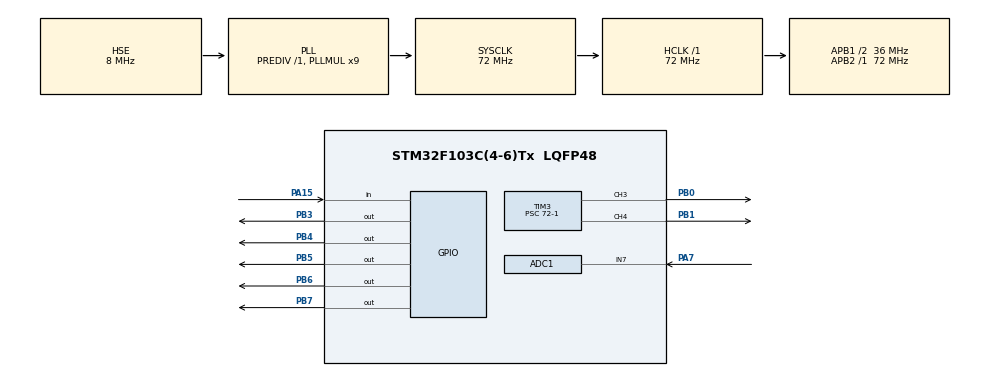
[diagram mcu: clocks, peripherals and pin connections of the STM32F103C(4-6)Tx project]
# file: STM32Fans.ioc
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ADC1.Channel-1\#ChannelRegularConversion=ADC_CHANNEL_7
ADC1.ContinuousConvMode=ENABLE
ADC1.NbrOfConversion=1
ADC1.NbrOfConversionFlag=1
ADC1.Rank-1\#ChannelRegularConversion=1
ADC1.SamplingTime-1\#ChannelRegularConversion=ADC_SAMPLETIME_239CYCLES_5
ADC1.master=1
FREERTOS.Tasks01=power,0,128,PowerTask,Default,NULL,Static,powerBuffer,powerControlBlock;display,-2,128,DisplayTask02,Default,NULL,Static,displayBuffer,displayControlBlock;gear,-2,128,GearTask03,Default,NULL,Static,gearBuffer,gearControlBlock;key,-2,128,KeyTask04,Default,NULL,Static,keyBuffer,keyControlBlock
Mcu.Family=STM32F1
Mcu.Name=STM32F103C(4-6)Tx
Mcu.Package=LQFP48
NVIC.PriorityGroup=NVIC_PRIORITYGROUP_4
NVIC.TIM1_UP_IRQn=true\:15\:0\:false\:false\:true\:false\:false\:true\:true
NVIC.TimeBase=TIM1_UP_IRQn
NVIC.TimeBaseIP=TIM1
PA13.Mode=Serial_Wire
PA13.Signal=SYS_JTMS-SWDIO
PA14.Mode=Serial_Wire
PA14.Signal=SYS_JTCK-SWCLK
PA15.Signal=GPIO_Input
PA7.Signal=SharedAnalog_PA7
PB0.Signal=S_TIM3_CH3
PB1.Signal=S_TIM3_CH4
PB3.Signal=GPIO_Output
PB4.Signal=GPIO_Output
PB5.Signal=GPIO_Output
PB6.Signal=GPIO_Output
PB7.Signal=GPIO_Output
PD0-OSC_IN.Mode=HSE-External-Oscillator
PD0-OSC_IN.Signal=RCC_OSC_IN
PD1-OSC_OUT.Mode=HSE-External-Oscillator
PD1-OSC_OUT.Signal=RCC_OSC_OUT
ProjectManager.HeapSize=0x200
ProjectManager.StackSize=0x400
ProjectManager.TargetToolchain=MDK-ARM V5.32
RCC.ADCPresc=RCC_ADCPCLK2_DIV6
RCC.AHBFreq_Value=72000000
RCC.APB1CLKDivider=RCC_HCLK_DIV2
RCC.APB1Freq_Value=36000000
RCC.APB1TimFreq_Value=72000000
RCC.APB2Freq_Value=72000000
RCC.APB2TimFreq_Value=72000000
RCC.HCLKFreq_Value=72000000
RCC.PLLMUL=RCC_PLL_MUL9
RCC.PLLSourceVirtual=RCC_PLLSOURCE_HSE
RCC.SYSCLKFreq_VALUE=72000000
RCC.SYSCLKSource=RCC_SYSCLKSOURCE_PLLCLK
RCC.USBFreq_Value=72000000
SH.S_TIM3_CH3.0=TIM3_CH3,PWM Generation3 CH3
SH.S_TIM3_CH4.0=TIM3_CH4,PWM Generation4 CH4
SH.SharedAnalog_PA7.0=GPIO_Analog
SH.SharedAnalog_PA7.1=ADC1_IN7,IN7
TIM3.Channel-PWM\ Generation3\ CH3=TIM_CHANNEL_3
TIM3.Channel-PWM\ Generation4\ CH4=TIM_CHANNEL_4
TIM3.Period=1000-1
TIM3.Prescaler=72-1
VP_FREERTOS_VS_CMSIS_V1.Mode=CMSIS_V1
VP_SYS_VS_tim1.Mode=TIM1
VP_TIM3_VS_ClockSourceINT.Mode=Internal
board=custom

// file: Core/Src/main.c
/* USER CODE BEGIN Header */
/**
  ******************************************************************************
  * @file           : main.c
  * @brief          : Main program body
  ******************************************************************************
  * @attention
  *
  * Copyright (c) 2024 STMicroelectronics.
  * All rights reserved.
  *
  * This software is licensed under terms that can be found in the LICENSE file
  * in the root directory of this software component.
  * If no LICENSE file comes with this software, it is provided AS-IS.
  *
  ******************************************************************************
  */
/* USER CODE END Header */
#include "main.h"
#include "cmsis_os.h"
#include "adc.h"
#include "tim.h"
#include "gpio.h"

void SystemClock_Config(void);
void MX_FREERTOS_Init(void);

int main(void)
{

  /* MCU Configuration--------------------------------------------------------*/

  /* Reset of all peripherals, Initializes the Flash interface and the Systick. */
  HAL_Init();

  /* Configure the system clock */
  SystemClock_Config();

  /* Initialize all configured peripherals */
  MX_GPIO_Init();
  MX_ADC1_Init();
  MX_TIM3_Init();

  /* Call init function for freertos objects (in cmsis_os2.c) */
  MX_FREERTOS_Init();

  /* Start scheduler */
  osKernelStart();

  /* We should never get here as control is now taken by the scheduler */

  /* Infinite loop */
  while (1)
  {

  }
}

void SystemClock_Config(void)
{
  RCC_OscInitTypeDef RCC_OscInitStruct = {0};
  RCC_ClkInitTypeDef RCC_ClkInitStruct = {0};
  RCC_PeriphCLKInitTypeDef PeriphClkInit = {0};

  /** Initializes the RCC Oscillators according to the specified parameters
  * in the RCC_OscInitTypeDef structure.
  */
  RCC_OscInitStruct.OscillatorType = RCC_OSCILLATORTYPE_HSE;
  RCC_OscInitStruct.HSEState = RCC_HSE_ON;
  RCC_OscInitStruct.HSEPredivValue = RCC_HSE_PREDIV_DIV1;
  RCC_OscInitStruct.HSIState = RCC_HSI_ON;
  RCC_OscInitStruct.PLL.PLLState = RCC_PLL_ON;
  RCC_OscInitStruct.PLL.PLLSource = RCC_PLLSOURCE_HSE;
  RCC_OscInitStruct.PLL.PLLMUL = RCC_PLL_MUL9;
  if (HAL_RCC_OscConfig(&RCC_OscInitStruct) != HAL_OK)
  {
    Error_Handler();
  }

  /** Initializes the CPU, AHB and APB buses clocks
  */
  RCC_ClkInitStruct.ClockType = RCC_CLOCKTYPE_HCLK|RCC_CLOCKTYPE_SYSCLK
                              |RCC_CLOCKTYPE_PCLK1|RCC_CLOCKTYPE_PCLK2;
  RCC_ClkInitStruct.SYSCLKSource = RCC_SYSCLKSOURCE_PLLCLK;
  RCC_ClkInitStruct.AHBCLKDivider = RCC_SYSCLK_DIV1;
  RCC_ClkInitStruct.APB1CLKDivider = RCC_HCLK_DIV2;
  RCC_ClkInitStruct.APB2CLKDivider = RCC_HCLK_DIV1;

  if (HAL_RCC_ClockConfig(&RCC_ClkInitStruct, FLASH_LATENCY_2) != HAL_OK)
  {
    Error_Handler();
  }
  PeriphClkInit.PeriphClockSelection = RCC_PERIPHCLK_ADC;
  PeriphClkInit.AdcClockSelection = RCC_ADCPCLK2_DIV6;
  if (HAL_RCCEx_PeriphCLKConfig(&PeriphClkInit) != HAL_OK)
  {
    Error_Handler();
  }
}

void HAL_TIM_PeriodElapsedCallback(TIM_HandleTypeDef *htim)
{
  if (htim->Instance == TIM1) {
    HAL_IncTick();
  }
}

void Error_Handler(void)
{
  __disable_irq();
  while (1)
  {
  }
}

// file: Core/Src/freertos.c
/* USER CODE BEGIN Header */
/**
 ******************************************************************************
 * File Name          : freertos.c
 * Description        : Code for freertos applications
 ******************************************************************************
 * @attention
 *
 * Copyright (c) 2024 STMicroelectronics.
 * All rights reserved.
 *
 * This software is licensed under terms that can be found in the LICENSE file
 * in the root directory of this software component.
 * If no LICENSE file comes with this software, it is provided AS-IS.
 *
 ******************************************************************************
 */
/* USER CODE END Header */

#include "FreeRTOS.h"
#include "task.h"
#include "main.h"
#include "cmsis_os.h"

/* USER CODE BEGIN Includes */
#include "../../User/button.h"
#include "../../User/display188.h"
#include "adc.h"
#include "stm32f1xx_it.h"
#include "gpio.h"
#include "tim.h"
/* USER CODE END Includes */

/* USER CODE BEGIN Variables */
typedef struct mainModel
{
    int          state;
    int          gear_grade;
    bool         gear_flag;
    int          power_percent;
    int          gear_delay;
    unsigned int adc;
    float        power_v;
} mainModel_t;

mainModel_t model = {
    .state = 0,
};

static void sw0_down_callback(void* btn);
/* USER CODE END Variables */
osThreadId powerHandle;
uint32_t powerBuffer[ 128 ];
osStaticThreadDef_t powerControlBlock;
osThreadId displayHandle;
uint32_t displayBuffer[ 128 ];
osStaticThreadDef_t displayControlBlock;
osThreadId gearHandle;
uint32_t gearBuffer[ 128 ];
osStaticThreadDef_t gearControlBlock;
osThreadId keyHandle;
uint32_t keyBuffer[ 128 ];
osStaticThreadDef_t keyControlBlock;

void PowerTask(void const * argument);
void DisplayTask02(void const * argument);
void GearTask03(void const * argument);
void KeyTask04(void const * argument);

void MX_FREERTOS_Init(void); /* (MISRA C 2004 rule 8.1) */

/* GetIdleTaskMemory prototype (linked to static allocation support) */
void vApplicationGetIdleTaskMemory( StaticTask_t **ppxIdleTaskTCBBuffer, StackType_t **ppxIdleTaskStackBuffer, uint32_t *pulIdleTaskStackSize );

/* USER CODE BEGIN GET_IDLE_TASK_MEMORY */
static StaticTask_t xIdleTaskTCBBuffer;
static StackType_t  xIdleStack[configMINIMAL_STACK_SIZE];

void vApplicationGetIdleTaskMemory(StaticTask_t** ppxIdleTaskTCBBuffer, StackType_t** ppxIdleTaskStackBuffer, uint32_t* pulIdleTaskStackSize)
{
    *ppxIdleTaskTCBBuffer   = &xIdleTaskTCBBuffer;
    *ppxIdleTaskStackBuffer = &xIdleStack[0];
    *pulIdleTaskStackSize   = configMINIMAL_STACK_SIZE;
    /* place for user code */
}
/* USER CODE END GET_IDLE_TASK_MEMORY */

void MX_FREERTOS_Init(void) {

  /* Create the thread(s) */
  /* definition and creation of power */
  osThreadStaticDef(power, PowerTask, osPriorityNormal, 0, 128, powerBuffer, &powerControlBlock);
  powerHandle = osThreadCreate(osThread(power), NULL);

  /* definition and creation of display */
  osThreadStaticDef(display, DisplayTask02, osPriorityLow, 0, 128, displayBuffer, &displayControlBlock);
  displayHandle = osThreadCreate(osThread(display), NULL);

  /* definition and creation of gear */
  osThreadStaticDef(gear, GearTask03, osPriorityLow, 0, 128, gearBuffer, &gearControlBlock);
  gearHandle = osThreadCreate(osThread(gear), NULL);

  /* definition and creation of key */
  osThreadStaticDef(key, KeyTask04, osPriorityLow, 0, 128, keyBuffer, &keyControlBlock);
  keyHandle = osThreadCreate(osThread(key), NULL);

}

void PowerTask(void const * argument)
{
  /* USER CODE BEGIN PowerTask */
    // HAL_ADC_Start_DMA(&hadc1,(unsigned int *)&model.adc, 1);
    /* Infinite loop */
    for (;;)
    {
			 HAL_ADC_Start(&hadc1);     //启动ADC转换
			HAL_ADC_PollForConversion(&hadc1, 50);   //等待转换完成，50为最大等待时间，单位为ms
			if(HAL_IS_BIT_SET(HAL_ADC_GetState(&hadc1), HAL_ADC_STATE_REG_EOC))
			{

				model.adc = HAL_ADC_GetValue(&hadc1);   //获取AD值
				//model.adc = adc1_value;
        model.power_v       = model.adc / 4096.0 * 3.3 * 11.11*1.015;
        model.power_percent = (model.power_v -15.0) / (20.0 - 15.0) * 100;
				if(model.power_percent >100)
				{
					model.power_percent = 100;
				}
			}
			osDelay(pdMS_TO_TICKS(200));
    }
  /* USER CODE END PowerTask */
}

void DisplayTask02(void const * argument)
{
  /* USER CODE BEGIN DisplayTask02 */
    display188_var.LED1_DRIVER = set_PB7;
    display188_var.LED2_DRIVER = set_PB6;
    display188_var.LED3_DRIVER = set_PB5;
    display188_var.LED4_DRIVER = set_PB4;
    display188_var.LED5_DRIVER = set_PB3;
    display188_var.LED12345_INPUT = set_PB3to7_input;
    /* Infinite loop */
    for (;;)
    {
        if (model.gear_flag == true)
        {
            model.gear_delay++;
            display188_var.digit_all = model.gear_grade;
        }
        else
        {
            display188_var.digit_all = model.power_percent;
        }
        if (model.gear_delay > 3000 / 5)
        {
            model.gear_flag = false;
        }
        display188_refresh_handle();
        osDelay(pdMS_TO_TICKS(5));
    }
  /* USER CODE END DisplayTask02 */
}

void GearTask03(void const * argument)
{
  /* USER CODE BEGIN GearTask03 */
HAL_TIM_PWM_Start(&htim3, TIM_CHANNEL_3);
HAL_TIM_PWM_Start(&htim3, TIM_CHANNEL_4);
/* Infinite loop */
for (;;)
{
    if (model.gear_grade == 1)
    {
        __HAL_TIM_SET_COMPARE(&htim3, TIM_CHANNEL_3, 321);
        __HAL_TIM_SET_COMPARE(&htim3, TIM_CHANNEL_4, 321);
    }
    else if (model.gear_grade == 2)
    {
        __HAL_TIM_SET_COMPARE(&htim3, TIM_CHANNEL_3, 503);
        __HAL_TIM_SET_COMPARE(&htim3, TIM_CHANNEL_4, 503);
    }
    else if (model.gear_grade == 3)
    {
        __HAL_TIM_SET_COMPARE(&htim3, TIM_CHANNEL_3, 700);
        __HAL_TIM_SET_COMPARE(&htim3, TIM_CHANNEL_4, 700);
    }
    else if (model.gear_grade == 4)
    {
        __HAL_TIM_SET_COMPARE(&htim3, TIM_CHANNEL_3, 793);
        __HAL_TIM_SET_COMPARE(&htim3, TIM_CHANNEL_4, 793);
    }
    else if (model.gear_grade == 5)
    {
        __HAL_TIM_SET_COMPARE(&htim3, TIM_CHANNEL_3, 970);
        __HAL_TIM_SET_COMPARE(&htim3, TIM_CHANNEL_4, 970);
    }
    else
    {
        __HAL_TIM_SET_COMPARE(&htim3, TIM_CHANNEL_3, 000);
        __HAL_TIM_SET_COMPARE(&htim3, TIM_CHANNEL_4, 000);
    }
        osDelay(pdMS_TO_TICKS(20));
    }
  /* USER CODE END GearTask03 */
}

void KeyTask04(void const * argument)
{
  /* USER CODE BEGIN KeyTask04 */
    Button_Create("sw0", &sw0, get_PA15);
    sw0.Button_Trigger_Level = 0;
    Button_Attach(&sw0, BUTTON_DOWN, sw0_down_callback);
    /* Infinite loop */
    for (;;)
    {
        Button_Process();
        osDelay(pdMS_TO_TICKS(20));
    }
  /* USER CODE END KeyTask04 */
}

/* USER CODE BEGIN Application */
static void sw0_down_callback(void* btn)
{
    model.gear_grade++;
    if (model.gear_grade > 5)
    {
        model.gear_grade = 0;
    }
    model.gear_flag = true;
    model.gear_delay        = 0;
}
/* USER CODE END Application */
